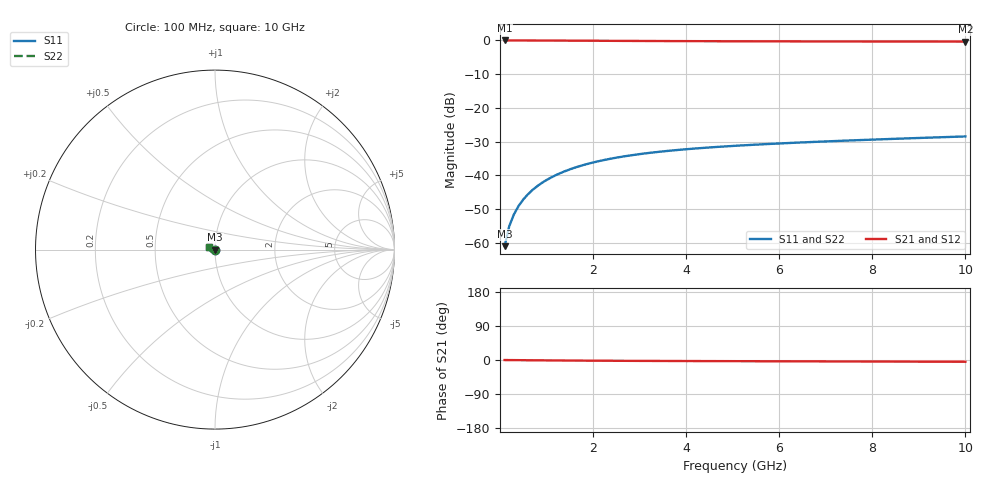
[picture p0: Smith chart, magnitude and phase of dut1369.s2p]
! Touchstone file exported from HFSS 2024.1.0
!  File:  C:/UserFiles/LocalFiles/RDL_TSV_Batchsim/temp_TSV1_1369_1780378996.aedt
!  Generated:  01:48:15 PM Jun  2, 2026
!  Design:  TSV1
!  Project:  temp_TSV1_1369_1780378996
!  Setup:  Setup1
!  Solution:  Sweep
! Variables:
!  dtsv = 8.83um
!  hbump = 3um
!  htsv = 68.87um
!  lrdl = 252.1521522um
!  p = 40
!  p1 = 55.55um
!  t = 500um
!  trdl = 3um
!  wrdl = 24.89489489um
# GHz S MA R 50.000000
! Terminal data exported
! Port[1] = TSV22_T1
! Port[2] = TSV22_T2
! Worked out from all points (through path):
!   100 points, 100 MHz to 10 GHz, reference 50 ohm
!   highest |S21| = 0.00 dB at 100 MHz (marker M1); lowest = -0.3 dB at 10 GHz (marker M2)
!   lowest |S11| = -61.0 dB at 100 MHz (marker M3), VSWR 1.00, Z = 50 - j0.0878 ohm
!   |S11| at or under -10 dB: start of sweep to end of sweep
!   |S22| runs from -61.0 to -28.5 dB; largest |S21 - S12| = 7.9e-15
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0.1  0.0008885 -81.1  0.9998 -0.1  0.9998 -0.1  0.0008885 -81.1
! Gamma 0 0 0 0
! Port Impedance 50 0 50 0
0.2  0.00176 -88.5  0.9997 -0.2  0.9997 -0.2  0.00176 -88.5
0.3  0.002635 -92.5  0.9995 -0.3  0.9995 -0.3  0.002635 -92.5
0.4  0.003505 -95.5  0.9993 -0.4  0.9993 -0.4  0.003505 -95.5
0.5  0.004368 -98.2  0.999 -0.5  0.999 -0.5  0.004368 -98.2
0.6  0.00522 -100.7  0.9986 -0.6  0.9986 -0.6  0.00522 -100.7
0.7  0.006062 -103.0  0.9982 -0.7  0.9982 -0.7  0.006062 -103.0
0.8  0.00689 -105.3  0.9978 -0.8  0.9978 -0.8  0.00689 -105.3
0.9  0.007704 -107.5  0.9972 -0.9  0.9972 -0.9  0.007704 -107.5
1.1  0.009285 -111.7  0.9961 -1.1  0.9961 -1.1  0.009285 -111.7
1.4  0.01152 -117.7  0.9942 -1.4  0.9942 -1.4  0.01152 -117.7
1.6  0.01292 -121.5  0.9928 -1.5  0.9928 -1.5  0.01292 -121.5
1.8  0.01424 -125.2  0.9913 -1.7  0.9913 -1.7  0.01424 -125.2
2.1  0.01607 -130.4  0.9891 -1.9  0.9891 -1.9  0.01607 -130.4
2.5  0.01825 -136.9  0.9861 -2.1  0.9861 -2.1  0.01825 -136.9
2.9  0.02016 -142.8  0.9833 -2.3  0.9833 -2.3  0.02016 -142.8
3.4  0.02223 -149.6  0.9801 -2.5  0.9801 -2.5  0.02223 -149.6
4.2  0.02498 -159.2  0.9758 -2.8  0.9758 -2.8  0.02498 -159.2
5.1  0.02749 -168.3  0.972 -3.1  0.972 -3.1  0.02749 -168.3
6.7  0.03116 178.4  0.9673 -3.6  0.9673 -3.6  0.03116 178.4
8.4  0.03459 167.1  0.964 -4.1  0.964 -4.1  0.03459 167.1
10  0.03769 158.5  0.9619 -4.7  0.9619 -4.7  0.03769 158.5
